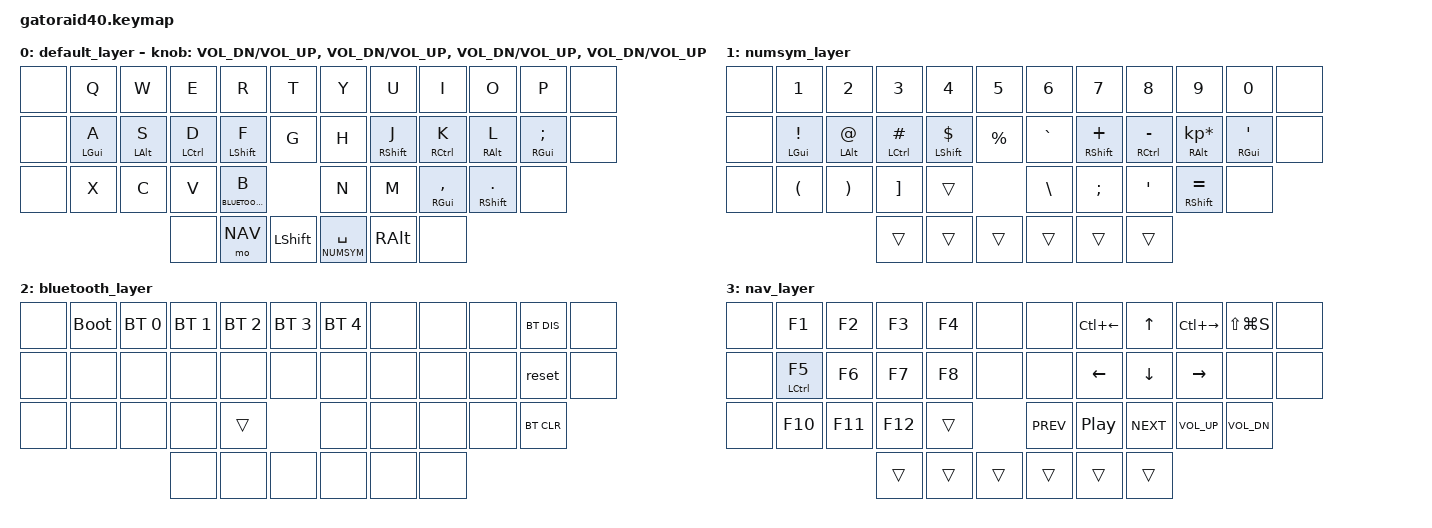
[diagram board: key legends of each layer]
#include <behaviors.dtsi>
#include <dt-bindings/zmk/keys.h>
#include <dt-bindings/zmk/bt.h>
#include <dt-bindings/zmk/rgb.h>
#include <dt-bindings/zmk/outputs.h>

#define DEFAULT 	0
#define NUMSYM 		1
#define BLUETOOTH	2
#define NAV	        3	

#define screenshot LS(LG(S))


/ {
	combos {
	compatible = "zmk,combos";
		combo_esc {
			timeout-ms = <27>;
			key-positions = <1 2>;
			bindings = <&kp ESC>;
		};
		combo_tab {
			timeout-ms = <27>;
			key-positions = <2 3>;
			bindings = <&kp TAB>;
		};
		combo_bpc {
			timeout-ms = <27>;
			key-positions = <20 21>;
			bindings = <&kp BSPC>;
		};
		combo_del {
			timeout-ms = <27>;
			key-positions = <8 9>;
			bindings = <&kp DELETE>;
		};
		combo_ent {
			timeout-ms = <27>;
			key-positions = <21 22>;
			bindings = <&kp ENTER>;
		};
		combo_ask {
			timeout-ms = <27>;
			key-positions = <31 32>;
			bindings = <&kp SLASH>;
		};
		combo_z {
			timeout-ms = <30>;
			key-positions = <13 25>;
			bindings = <&kp Z>;
		};
		combo_ae {
                        timeout-ms = <27>;
                        key-positions = <13 14>;
                        bindings = <&kp RA(Q) >;
                };
                combo_ue {
                        timeout-ms = <27>;
                        key-positions = <7 8>;
                        bindings = <&kp RA(Y) >;
                };
                combo_oe {
                        timeout-ms = <27>;
                        key-positions = <9 10>;
                        bindings = <&kp RA(P) >;
                };
                combo_ss {
                        timeout-ms = <27>;
                        key-positions = <14 15>;
                        bindings = <&kp RA(S) >;
                };
    };
};

/ {
        behaviors {
        am: alpha_mods {
            compatible = "zmk,behavior-hold-tap";
            label = "ALPHA_MODS";
            #binding-cells = <2>;
            tapping_term_ms = <170>;
            flavor = "tap-preferred";
            bindings = <&kp>, <&kp>;
        };
    };

	keymap {
		compatible = "zmk,keymap";
		
		default_layer {
			bindings = <
	&none &kp Q            &kp W         &kp E         &kp R         &kp T            &kp Y            &kp U            &kp I            &kp O            &kp P           &none
        &none &am LGUI A       &am LALT S    &am LCTRL D   &am LSHFT F   &kp G            &kp H            &am RSHFT J      &am RCTRL K      &am RALT L       &am RGUI SEMI &none
	&none                  &kp X         &kp C         &kp V         &lt BLUETOOTH B  &kp N            &kp M            &am RGUI CMMA         &am RSHFT DOT &none        
                                             &none         &mo NAV       &kp LSHFT        &lt NUMSYM SPACE &kp RALT         &none  
			>;
                sensor-bindings = <&inc_dec_kp C_VOL_DN C_VOL_UP &inc_dec_kp C_VOL_DN C_VOL_UP &inc_dec_kp C_VOL_DN C_VOL_UP &inc_dec_kp C_VOL_DN C_VOL_UP>;
		};
		numsym_layer {
			bindings = <
	&none &kp N1           &kp N2        &kp N3        &kp N4        &kp N5           &kp N6           &kp N7           &kp N8           &kp N9           &kp N0            &none
	&none &am LGUI EXCL    &am LALT AT   &am LCTRL HASH &am LSHFT DLLR &kp PERCENT    &kp GRAVE        &am RSHFT PLUS   &am RCTRL MINUS  &am RALT KP_ASTERISK &am RGUI SQT  &none
	&none                  &kp LPAR      &kp RPAR      &kp RBKT      &trans           &kp BACKSLASH    &kp SEMICOLON    &kp SQT          &am RSHFT EQUAL      &none   
                                             &trans &trans &trans &trans &trans &trans
			>;
		};
		bluetooth_layer {
			bindings = <
	&none &bootloader      &bt BT_SEL 0  &bt BT_SEL 1  &bt BT_SEL 2  &bt BT_SEL 3     &bt BT_SEL 4     &none           &none             &none            &bt BT_DIS &none
	&none &none            &none         &none         &none         &none            &none            &none           &none             &none            &reset     &none
	&none            &none         &none         &none         &trans           &none            &none           &none             &none &bt BT_CLR    
                                                     &none &none &none &none &none &none
			>;
		};
		nav_layer {
			bindings = <
	&none &kp F1           &kp F2        &kp F3        &kp F4        &none            &none            &kp LC(LEFT)     &kp UP           &kp LC(RIGHT)    &kp screenshot   &none
	&none &am LCTRL F5     &kp F6        &kp F7        &kp F8        &none            &none            &kp LEFT         &kp DOWN         &kp RIGHT        &none            &none
	&none     &kp F10       &kp F11       &kp F12       &trans           &kp C_PREV       &kp C_PP         &kp C_NEXT       &kp C_VOL_UP &kp C_VOL_DN      
                                        &trans &trans &trans &trans &trans &trans
			>;
		};
	};
};
